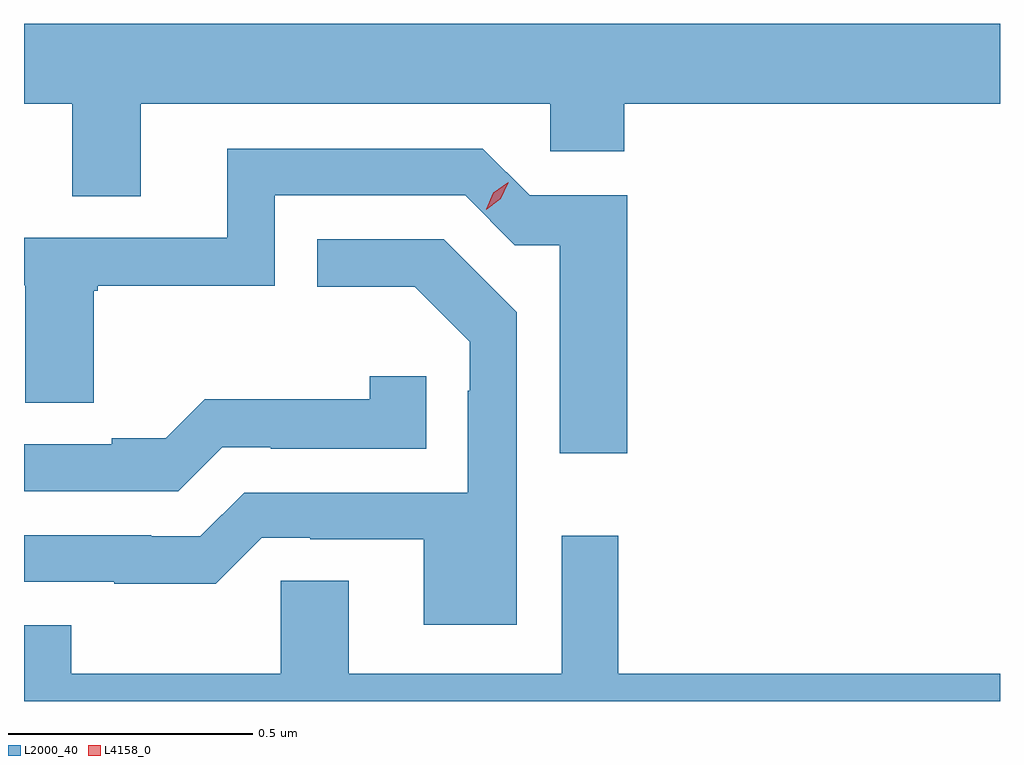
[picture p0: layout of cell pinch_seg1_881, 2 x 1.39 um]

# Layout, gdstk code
import gdstk
lib = gdstk.Library(unit=1e-6, precision=1e-09)
def P(c, l, *ps):  # polygons
    for p in ps: c.add(gdstk.Polygon(p, *l))
L2000_40 = (2000, 40)
L4158_0 = (4158, 0)

pinch_seg1_881 = lib.new_cell('pinch_seg1_881')
P(pinch_seg1_881, L2000_40, [(433.999,519.764),(434.838,519.764),(434.838,519.666),(434.99,519.666),(434.99,519.764),(435.76,519.764),(435.76,519.928),(433.76,519.928),(433.76,519.764),(433.859,519.764),(433.859,519.574),(433.999,519.574)],
  [(434.996,519.576),(434.796,519.576),(434.7,519.672),(434.177,519.672),(434.177,519.489),(433.76,519.489),(433.76,519.392),(433.763,519.392),(433.763,519.151),(433.903,519.151),(433.903,519.381),(433.911,519.381),(433.911,519.391),(434.274,519.391),(434.274,519.576),(434.664,519.576),(434.766,519.474),(434.858,519.474),(434.858,519.048),(434.996,519.048)],
  [(434.77,519.336),(434.62,519.486),(434.361,519.486),(434.361,519.389),(434.561,519.389),(434.673,519.276),(434.673,519.176),(434.669,519.176),(434.669,518.967),(434.211,518.967),(434.121,518.877),(434.021,518.877),(434.021,518.88),(433.76,518.88),(433.76,518.784),(433.945,518.784),(433.945,518.78),(434.153,518.78),(434.247,518.874),(434.347,518.874),(434.347,518.871),(434.579,518.871),(434.579,518.696),(434.77,518.696)],
  [(434.166,519.06),(434.266,519.06),(434.266,519.057),(434.584,519.057),(434.584,519.205),(434.468,519.205),(434.468,519.158),(434.13,519.158),(434.05,519.078),(433.94,519.078),(433.94,519.066),(433.76,519.066),(433.76,518.97),(434.076,518.97)],
  [(435.76,518.596),(434.978,518.596),(434.978,518.878),(434.862,518.878),(434.862,518.596),(434.425,518.596),(434.425,518.786),(434.286,518.786),(434.286,518.596),(433.857,518.596),(433.857,518.695),(433.76,518.695),(433.76,518.539),(435.76,518.539)])
P(pinch_seg1_881, L4158_0, [(434.707,519.547),(434.707,519.548),(434.722,519.581),(434.752,519.603),(434.752,519.603),(434.752,519.602),(434.737,519.569),(434.707,519.547)])

lib.write_gds('pinch_seg1_881.gds')
